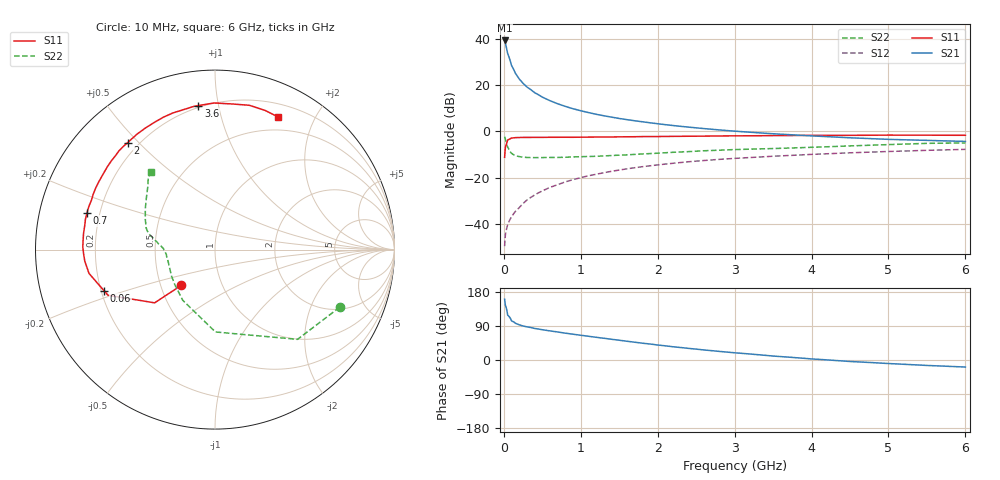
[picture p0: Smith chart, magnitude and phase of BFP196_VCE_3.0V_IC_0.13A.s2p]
! (c) 2017  Infineon Technologies AG, Munich
! Infineon Technologies  Discrete & RF Semiconductors
! BFP196
! VCE =  3.0 V,  IC = 0.13 A
! Common Emitter S-Parameters:  Jan 2017
# GHz  S  MA  R  50
!  f  S11  S21  S12  S22
! GHz  MAG  ANG  MAG  ANG  MAG  ANG  MAG  ANG
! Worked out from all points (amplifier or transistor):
!   77 points, 10 MHz to 6 GHz, reference 50 ohm
!   highest |S21| = 39.2 dB at 10 MHz (marker M1)
!   |S21| within 3 dB of that: start of sweep to 32.82 MHz
!   unconditionally stable (mu >= 1): 252.2 MHz to 2.701 GHz
!   at 130 MHz: K = 0.85, MSG = 31.0 dB, |S12| = -35.5 dB
!   at 2.2 GHz: K = 1.02, MAG = 7.3 dB, |S12| = -13.8 dB
!   at 6 GHz: K = 0.98, MSG = 1.7 dB, |S12| = -7.8 dB
!   S11 on the Smith chart (normalised r, x): 10 MHz: 0.64, -0.27; 60 MHz: 0.21, -0.17; 700 MHz: 0.15, +0.14; 2 GHz: 0.16, +0.47; 3.6 GHz: 0.19, +0.87; 6 GHz: 0.34, +1.53
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0.01  0.2735 -133.3  91.41 160.5  0.0033 75.0  0.7655 -24.8
0.02  0.4486 -138.6  80.16 144.6  0.0058 60.6  0.6794 -47.4
0.05  0.6482 -156.9  47.62 118.4  0.0097 53.2  0.4588 -89.7
0.06  0.6588 -159.6  43.2 116.6  0.0106 54.7  0.4249 -94.6
0.1  0.7144 -169.3  26.29 103.4  0.0142 58.8  0.3347 -122.5
0.15  0.7283 -174.9  17.89 97.0  0.0186 64.6  0.2973 -138.8
0.2  0.7326 -178.2  13.5 92.9  0.0224 67.7  0.2838 -148.4
0.25  0.7365 178.9  10.84 89.7  0.0276 69.4  0.2758 -154.5
0.3  0.7366 176.7  9.045 87.5  0.0327 70.5  0.2718 -159.3
0.4  0.7379 173.0  6.823 83.3  0.042 72.1  0.2694 -165.0
0.5  0.738 169.7  5.463 79.9  0.0515 72.1  0.27 -168.8
0.7  0.7418 164.0  3.924 74.0  0.0703 70.9  0.2723 -174.1
0.9  0.7413 158.2  3.063 68.1  0.0902 68.8  0.2789 -177.2
1.1  0.748 152.8  2.532 62.7  0.1095 66.4  0.285 180.0
1.5  0.7569 142.3  1.889 52.2  0.1453 60.9  0.3047 175.5
2  0.7698 129.2  1.452 39.6  0.1879 53.3  0.336 171.4
2.1  0.7722 126.6  1.389 37.4  0.1956 51.7  0.3436 170.4
3.1  0.7971 105.4  0.979 17.5  0.265 37.2  0.4065 161.2
3.6  0.8077 96.6  0.865 9.0  0.2941 30.9  0.4284 155.0
4.1  0.8159 88.9  0.78 1.6  0.3215 24.7  0.4562 148.0
5.1  0.8252 75.3  0.662 -10.3  0.3699 12.6  0.5217 135.7
6  0.8184 64.4  0.603 -18.6  0.4067 2.6  0.5608 129.2
